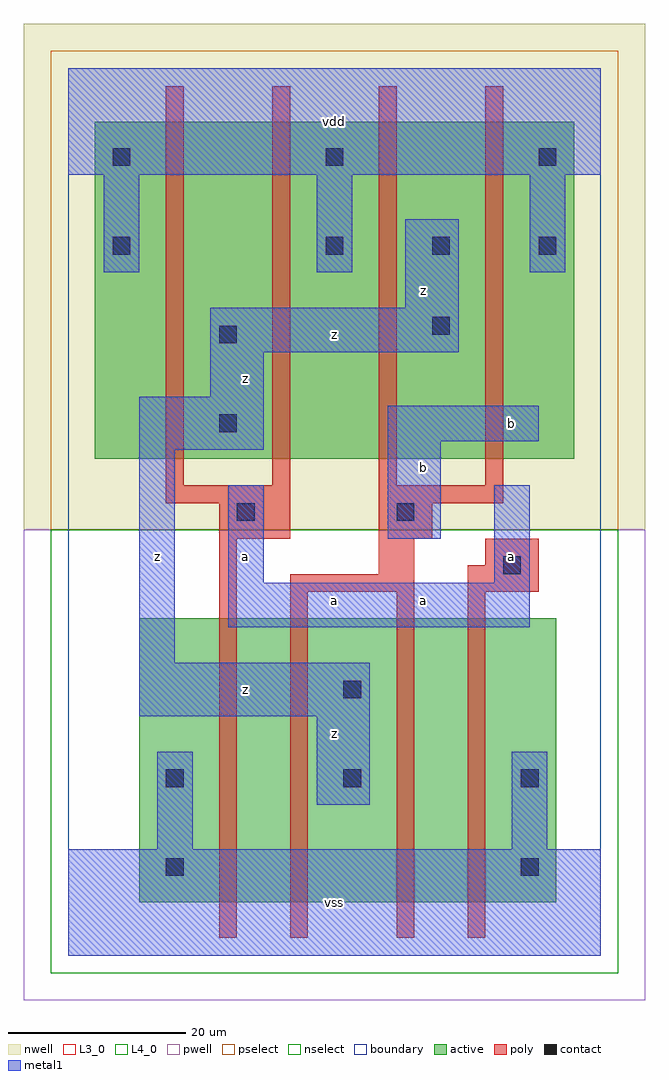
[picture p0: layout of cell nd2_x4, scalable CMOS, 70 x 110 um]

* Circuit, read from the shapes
.subckt nd2_x4 a b vdd vss z
M1 n1 a vss VSUBS nfet w=32u l=2u
M2 z b n1 VSUBS nfet w=32u l=2u
M3 n2 b z VSUBS nfet w=32u l=2u
M4 vss a n2 VSUBS nfet w=32u l=2u
M5 z a vdd n3 pfet w=38u l=2u m=2
M6 z b vdd n3 pfet w=38u l=2u m=2
.ends

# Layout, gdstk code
import gdstk
lib = gdstk.Library(unit=1e-6, precision=1e-09)
def R(c, l, rs):  # rectangles x0, y0, x1, y1
    for r in rs: c.add(gdstk.rectangle(r[:2], r[2:], *l))
def A(c, l, x, y, w, h, nx, ny, dx, dy):  # array of equal rectangles
    R(c, l, [(x+i*dx, y+j*dy, x+i*dx+w, y+j*dy+h) for i in range(nx) for j in range(ny)])
L3_0 = (3, 0)
L4_0 = (4, 0)
contact = (25, 0)
pwell = (41, 0)
nwell = (42, 0)
active = (43, 0)
pselect = (44, 0)
nselect = (45, 0)
poly = (46, 0)
metal1 = (49, 0)
boundary = (63, 0)

nd2_x4 = lib.new_cell('nd2_x4')
R(nd2_x4, L3_0, [(8,6,55,38)])
R(nd2_x4, L4_0, [(3,56,57,94)])
A(nd2_x4, contact, 11, 19, 2, 2, 3, 1, 20, 0)
A(nd2_x4, contact, 29, 79, 2, 2, 3, 1, 12, 0)
A(nd2_x4, contact, 5, 89, 2, 2, 3, 1, 24, 0)
R(nd2_x4, contact, [(11,9,13,11), (51,9,53,11), (31,29,33,31), (49,43,51,45), (19,49,21,51), (37,49,39,51), (17,59,19,61), (17,69,19,71), (41,70,43,72), (5,79,7,81)])
R(nd2_x4, pwell, [(-5,-5,65,48)])
R(nd2_x4, nwell, [(-5,48,65,105)])
R(nd2_x4, active, [(8,6,55,38), (3,56,57,94)])
R(nd2_x4, pselect, [(-2,48,62,102)])
R(nd2_x4, nselect, [(-2,-2,62,48)])
A(nd2_x4, poly, 11, 53, 2, 45, 4, 1, 12, 0)
R(nd2_x4, poly, [(17,2,19,47), (25,2,27,41), (37,2,39,41), (45,2,47,41), (25,41,39,43), (45,41,53,44), (35,43,39,47), (47,44,53,47), (17,47,25,51), (35,47,41,51), (11,51,25,53), (35,51,49,53)])
A(nd2_x4, metal1, 4, 77, 4, 11, 3, 1, 24, 0)
R(nd2_x4, metal1, [(0,0,60,12), (10,12,14,23), (50,12,54,23), (28,17,34,27), (8,27,34,33), (8,33,12,57), (18,37,52,42), (18,42,22,53), (48,42,52,53), (36,47,42,58), (8,57,22,63), (36,58,53,62), (16,63,22,68), (16,68,44,73), (38,73,44,83), (0,88,60,100)])
R(nd2_x4, boundary, [(0,0,60,100)])
nd2_x4.add(gdstk.Label('z', (10,45), layer=49, texttype=0))
nd2_x4.add(gdstk.Label('a', (20,45), layer=49, texttype=0))
nd2_x4.add(gdstk.Label('z', (20,30), layer=49, texttype=0))
nd2_x4.add(gdstk.Label('z', (20,65), layer=49, texttype=0))
nd2_x4.add(gdstk.Label('vss', (30,6), layer=49, texttype=0))
nd2_x4.add(gdstk.Label('z', (30,25), layer=49, texttype=0))
nd2_x4.add(gdstk.Label('a', (30,40), layer=49, texttype=0))
nd2_x4.add(gdstk.Label('a', (40,40), layer=49, texttype=0))
nd2_x4.add(gdstk.Label('z', (30,70), layer=49, texttype=0))
nd2_x4.add(gdstk.Label('b', (40,55), layer=49, texttype=0))
nd2_x4.add(gdstk.Label('z', (40,75), layer=49, texttype=0))
nd2_x4.add(gdstk.Label('vdd', (30,94), layer=49, texttype=0))
nd2_x4.add(gdstk.Label('a', (50,45), layer=49, texttype=0))
nd2_x4.add(gdstk.Label('b', (50,60), layer=49, texttype=0))

lib.write_gds('nd2_x4.gds')
